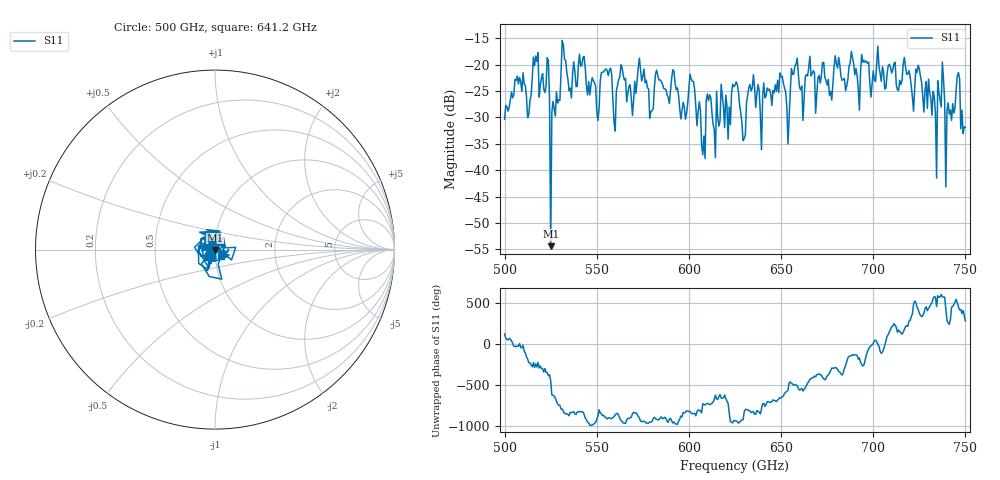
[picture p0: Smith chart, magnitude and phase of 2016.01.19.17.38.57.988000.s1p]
!Created with skrf (http://scikit-rf.org).
# GHz S RI R 50.0
!freq ReS11 ImS11
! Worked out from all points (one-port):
!   401 points, 500 GHz to 750 GHz, reference 50 ohm
!   lowest |S11| = -54.4 dB at 525 GHz (marker M1), VSWR 1.00, Z = 50 - j0.191 ohm
!   |S11| at or under -10 dB: start of sweep to end of sweep
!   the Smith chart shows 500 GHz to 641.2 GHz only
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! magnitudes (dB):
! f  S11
! 500 GHz  -30.3
! 506.9 GHz  -22.2
! 513.1 GHz  -29.5
! 516.9 GHz  -18.4
! 523.1 GHz  -18.7
! 525 GHz  -54.4
! 531.2 GHz  -15.4
! 550 GHz  -28.9
! 556.2 GHz  -22.1
! 560 GHz  -32.6
! 562.5 GHz  -22.4
! 593.8 GHz  -24.4
! 601.9 GHz  -23.2
! 607.5 GHz  -37.1
! 610.6 GHz  -26.8
! 615 GHz  -25.0
! 625 GHz  -23.9
! 629.4 GHz  -34.4
! 633.8 GHz  -25.0
! 653.8 GHz  -35.0
! 656.2 GHz  -21.9
! 687.5 GHz  -19.7
! 718.8 GHz  -21.8
! 733.1 GHz  -26.1
! 736.9 GHz  -28.0
! 740.6 GHz  -27.3
! 745.6 GHz  -22.1
! 750 GHz  -31.9
